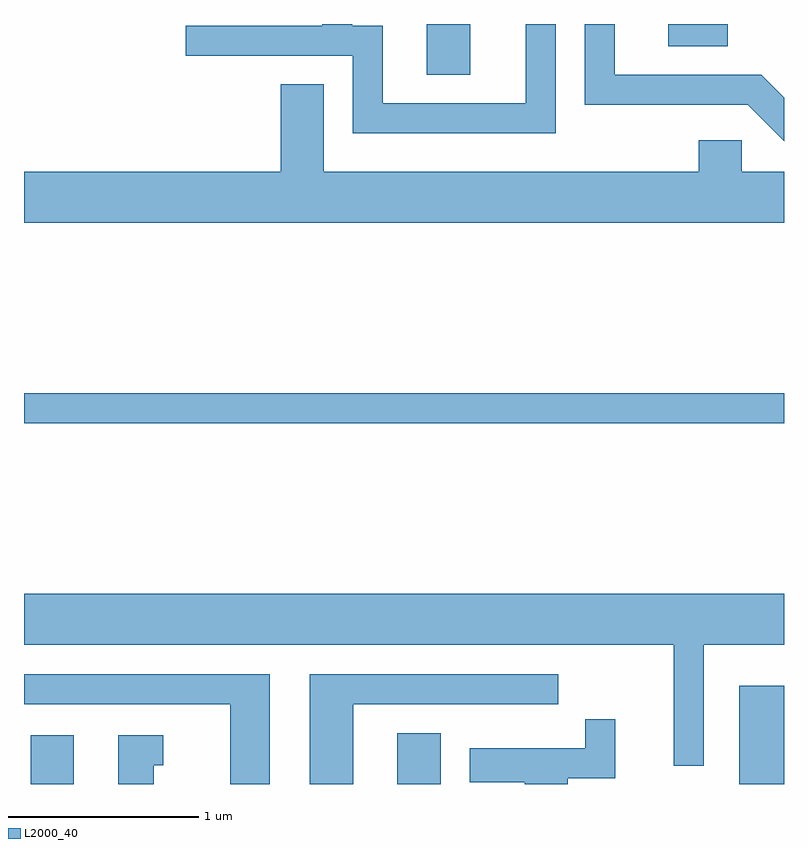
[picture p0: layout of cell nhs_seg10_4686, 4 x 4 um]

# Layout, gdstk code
import gdstk
lib = gdstk.Library(unit=1e-6, precision=1e-09)
def R(c, l, rs):  # rectangles x0, y0, x1, y1
    for r in rs: c.add(gdstk.rectangle(r[:2], r[2:], *l))
def P(c, l, *ps):  # polygons
    for p in ps: c.add(gdstk.Polygon(p, *l))
L2000_40 = (2000, 40)

nhs_seg10_4686 = lib.new_cell('nhs_seg10_4686')
R(nhs_seg10_4686, L2000_40, [(323.646,2106.522,323.874,2106.779), (325.576,2106.522,325.804,2106.789), (327.376,2106.522,327.611,2107.039), (323.611,2108.421,327.611,2108.579), (325.731,2110.256,325.959,2110.522), (327.001,2110.406,327.314,2110.522)])
P(nhs_seg10_4686, L2000_40, [(327.611,2110.135),(327.492,2110.254),(326.719,2110.254),(326.719,2110.522),(326.561,2110.522),(326.561,2110.096),(327.419,2110.096),(327.611,2109.904)],
  [(326.409,2110.522),(326.251,2110.522),(326.251,2110.104),(325.499,2110.104),(325.499,2110.514),(325.339,2110.514),(325.339,2110.522),(325.181,2110.522),(325.181,2110.514),(324.463,2110.514),(324.463,2110.356),(325.341,2110.356),(325.341,2109.946),(326.409,2109.946)],
  [(327.611,2109.744),(327.389,2109.744),(327.389,2109.909),(327.161,2109.909),(327.161,2109.744),(325.189,2109.744),(325.189,2110.204),(324.961,2110.204),(324.961,2109.744),(323.611,2109.744),(323.611,2109.476),(327.611,2109.476)],
  [(327.189,2107.256),(327.611,2107.256),(327.611,2107.524),(323.611,2107.524),(323.611,2107.256),(327.031,2107.256),(327.031,2106.618),(327.189,2106.618)],
  [(324.904,2107.099),(323.611,2107.099),(323.611,2106.941),(324.696,2106.941),(324.696,2106.522),(324.904,2106.522)],
  [(325.344,2106.941),(326.423,2106.941),(326.423,2107.099),(325.116,2107.099),(325.116,2106.522),(325.344,2106.522)],
  [(326.474,2106.551),(326.724,2106.551),(326.724,2106.863),(326.566,2106.863),(326.566,2106.709),(325.956,2106.709),(325.956,2106.531),(326.246,2106.531),(326.246,2106.522),(326.474,2106.522)],
  [(324.294,2106.621),(324.343,2106.621),(324.343,2106.779),(324.106,2106.779),(324.106,2106.522),(324.294,2106.522)])

lib.write_gds('nhs_seg10_4686.gds')
